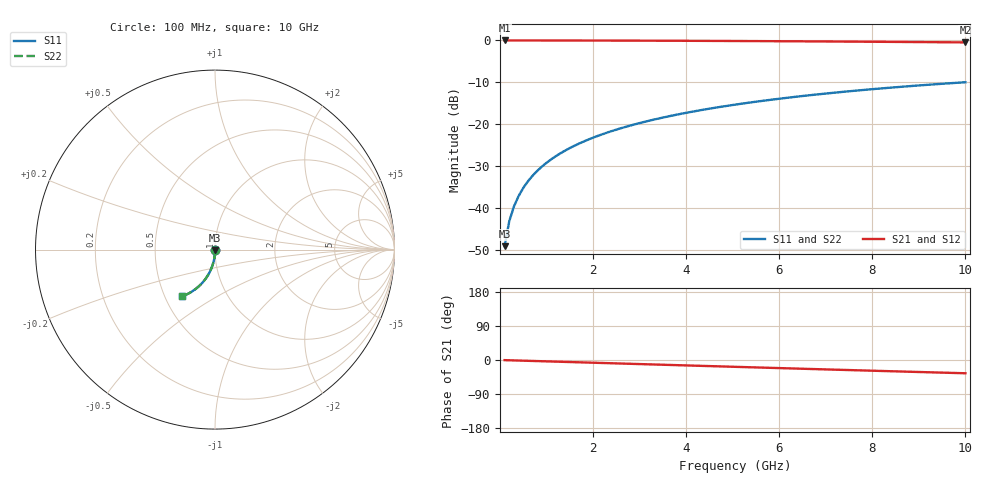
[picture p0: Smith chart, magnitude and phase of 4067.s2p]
# Hz S RI R 50.00
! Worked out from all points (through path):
!   100 points, 100 MHz to 10 GHz, reference 50 ohm
!   highest |S21| = 0.00 dB at 100 MHz (marker M1); lowest = -0.5 dB at 10 GHz (marker M2)
!   group delay of S21, straight-line fit = 9.75 ps
!   lowest |S11| = -49.2 dB at 100 MHz (marker M3), VSWR 1.01, Z = 50 - j0.346 ohm
!   |S11| at or under -10 dB: start of sweep to 9.985 GHz
!   |S22| runs from -49.2 to -10.0 dB; largest |S21 - S12| = 0
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1e8  0.000437 -0.00345  0.9995 -0.00625  0.9995 -0.00625  0.000437 -0.00345
2e8  0.00037 -0.00691  0.9994 -0.0125  0.9994 -0.0125  0.00037 -0.00691
3e8  0.00026 -0.0104  0.9993 -0.0187  0.9993 -0.0187  0.00026 -0.0104
4e8  0.000106 -0.0138  0.9991 -0.025  0.9991 -0.025  0.000106 -0.0138
5e8  -9.09e-05 -0.0173  0.9989 -0.0312  0.9989 -0.0312  -9.09e-05 -0.0173
6e8  -0.000331 -0.0207  0.9986 -0.0375  0.9986 -0.0375  -0.000331 -0.0207
7e8  -0.000615 -0.0241  0.9982 -0.0437  0.9982 -0.0437  -0.000615 -0.0241
8e8  -0.000942 -0.0276  0.9979 -0.05  0.9979 -0.05  -0.000942 -0.0276
9e8  -0.00131 -0.031  0.9974 -0.0562  0.9974 -0.0562  -0.00131 -0.031
1.1e9  -0.00218 -0.0379  0.9964 -0.0686  0.9964 -0.0686  -0.00218 -0.0379
1.4e9  -0.0038 -0.0481  0.9945 -0.0873  0.9945 -0.0873  -0.0038 -0.0481
1.8e9  -0.00656 -0.0616  0.9912 -0.112  0.9912 -0.112  -0.00656 -0.0616
2.1e9  -0.00907 -0.0717  0.9882 -0.1305  0.9882 -0.1305  -0.00907 -0.0717
2.5e9  -0.013 -0.0849  0.9836 -0.1549  0.9836 -0.1549  -0.013 -0.0849
2.9e9  -0.0176 -0.0979  0.9781 -0.1792  0.9781 -0.1792  -0.0176 -0.0979
3.4e9  -0.0242 -0.1138  0.9703 -0.2091  0.9703 -0.2091  -0.0242 -0.1138
4.2e9  -0.0367 -0.1382  0.9553 -0.2561  0.9553 -0.2561  -0.0367 -0.1382
5.1e9  -0.0536 -0.1639  0.9351 -0.3072  0.9351 -0.3072  -0.0536 -0.1639
5.9e9  -0.0707 -0.1849  0.9144 -0.351  0.9144 -0.351  -0.0707 -0.1849
6.7e9  -0.0897 -0.204  0.8913 -0.3928  0.8913 -0.3928  -0.0897 -0.204
8.4e9  -0.1348 -0.2374  0.8354 -0.475  0.8354 -0.475  -0.1348 -0.2374
1e10  -0.1815 -0.2594  0.7762 -0.5434  0.7762 -0.5434  -0.1815 -0.2594
